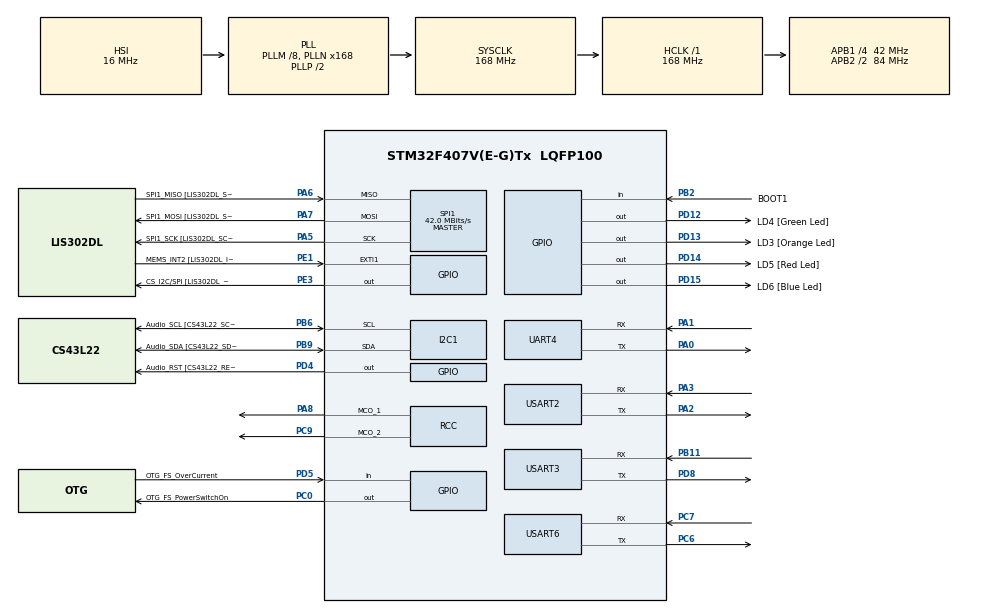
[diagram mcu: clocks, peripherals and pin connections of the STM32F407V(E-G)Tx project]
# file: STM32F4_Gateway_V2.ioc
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Dma.Request0=USART2_RX
Dma.USART2_RX.0.Channel=DMA_CHANNEL_4
Dma.USART2_RX.0.Direction=DMA_PERIPH_TO_MEMORY
Dma.USART2_RX.0.FIFOMode=DMA_FIFOMODE_ENABLE
Dma.USART2_RX.0.FIFOThreshold=DMA_FIFO_THRESHOLD_FULL
Dma.USART2_RX.0.Instance=DMA1_Stream5
Dma.USART2_RX.0.MemBurst=DMA_MBURST_SINGLE
Dma.USART2_RX.0.MemDataAlignment=DMA_MDATAALIGN_BYTE
Dma.USART2_RX.0.MemInc=DMA_MINC_ENABLE
Dma.USART2_RX.0.Mode=DMA_NORMAL
Dma.USART2_RX.0.PeriphBurst=DMA_PBURST_SINGLE
Dma.USART2_RX.0.PeriphDataAlignment=DMA_PDATAALIGN_BYTE
Dma.USART2_RX.0.PeriphInc=DMA_PINC_DISABLE
Dma.USART2_RX.0.Priority=DMA_PRIORITY_MEDIUM
FREERTOS.BinarySemaphores01=myBinarySem01;myBinarySem02
FREERTOS.Mutexes01=myMutex01;myMutex02
FREERTOS.Queues01=myQueue01,16,uint16_t,NULL;myQueue02,16,uint16_t,NULL
FREERTOS.Tasks01=defaultTask,0,512,StartDefaultTask,Default;myTask02,0,512,StartTask02,Default;myTask03,0,512,StartTask03,Default;myTask04,0,512,StartTask04,Default
Mcu.Family=STM32F4
Mcu.Name=STM32F407V(E-G)Tx
Mcu.Package=LQFP100
NVIC.DMA1_Stream5_IRQn=true\:5\:0\:false\:false\:true
NVIC.I2C1_ER_IRQn=true\:5\:0\:false\:false\:true
NVIC.I2C1_EV_IRQn=true\:5\:0\:false\:false\:true
NVIC.PriorityGroup=NVIC_PRIORITYGROUP_4
NVIC.RCC_IRQn=true\:5\:0\:false\:false\:true
NVIC.SPI1_IRQn=true\:5\:0\:false\:false\:true
NVIC.UART4_IRQn=true\:10\:0\:true\:false\:true
NVIC.USART2_IRQn=true\:10\:0\:true\:false\:true
NVIC.USART3_IRQn=true\:10\:0\:true\:false\:true
NVIC.USART6_IRQn=true\:10\:0\:true\:false\:true
PA0-WKUP.Mode=Asynchronous
PA0-WKUP.Signal=UART4_TX
PA1.Mode=Asynchronous
PA1.Signal=UART4_RX
PA10.Signal=USART1_RX
PA11.GPIO_Label=OTG_FS_DM
PA11.GPIO_Mode=GPIO_MODE_AF_PP
PA11.GPIO_PuPd=GPIO_NOPULL
PA11.GPIO_Speed=GPIO_SPEED_FREQ_LOW
PA11.Signal=USB_OTG_FS_DM
PA12.GPIO_Label=OTG_FS_DP
PA12.GPIO_Mode=GPIO_MODE_AF_PP
PA12.GPIO_PuPd=GPIO_NOPULL
PA12.GPIO_Speed=GPIO_SPEED_FREQ_LOW
PA12.Signal=USB_OTG_FS_DP
PA13.GPIO_Label=SWDIO
PA13.Mode=Serial-Wire
PA13.Signal=SYS_JTMS-SWDIO
PA14.GPIO_Label=SWCLK
PA14.Mode=Serial-Wire
PA14.Signal=SYS_JTCK-SWCLK
PA2.Mode=Asynchronous
PA2.Signal=USART2_TX
PA3.Mode=Asynchronous
PA3.Signal=USART2_RX
PA4.GPIO_Label=I2S3_WS [CS43L22_LRCK]
PA4.GPIO_Mode=GPIO_MODE_AF_PP
PA4.GPIO_PuPd=GPIO_NOPULL
PA4.GPIO_Speed=GPIO_SPEED_FREQ_LOW
PA4.Signal=I2S3_WS
PA5.GPIO_Label=SPI1_SCK [LIS302DL_SCL/SPC]
PA5.GPIO_Mode=GPIO_MODE_AF_PP
PA5.GPIO_PuPd=GPIO_NOPULL
PA5.GPIO_Speed=GPIO_SPEED_FREQ_LOW
PA5.Mode=Full_Duplex_Master
PA5.Signal=SPI1_SCK
PA6.GPIO_Label=SPI1_MISO [LIS302DL_SDO]
PA6.GPIO_Mode=GPIO_MODE_AF_PP
PA6.GPIO_PuPd=GPIO_NOPULL
PA6.GPIO_Speed=GPIO_SPEED_FREQ_LOW
PA6.Mode=Full_Duplex_Master
PA6.Signal=SPI1_MISO
PA7.GPIO_Label=SPI1_MOSI [LIS302DL_SDA/SDI/SDO]
PA7.GPIO_Mode=GPIO_MODE_AF_PP
PA7.GPIO_PuPd=GPIO_NOPULL
PA7.GPIO_Speed=GPIO_SPEED_FREQ_LOW
PA7.Mode=Full_Duplex_Master
PA7.Signal=SPI1_MOSI
PA8.Mode=Clock-out-1
PA8.Signal=RCC_MCO_1
PA9.Signal=USART1_TX
PB10.GPIO_Label=CLK_IN [MP45DT02_CLK]
PB10.GPIO_Mode=GPIO_MODE_AF_PP
PB10.GPIO_PuPd=GPIO_NOPULL
PB10.GPIO_Speed=GPIO_SPEED_FREQ_LOW
PB10.Signal=I2S2_CK
PB11.Mode=Asynchronous
PB11.Signal=USART3_RX
PB2.GPIO_Label=BOOT1
PB2.GPIO_Mode=GPIO_MODE_INPUT
PB2.GPIO_PuPd=GPIO_NOPULL
PB2.Signal=GPIO_Input
PB3.GPIO_Label=SWO
PB3.Signal=SYS_JTDO-SWO
PB6.GPIO_Label=Audio_SCL [CS43L22_SCL]
PB6.GPIO_Mode=GPIO_MODE_AF_OD
PB6.GPIO_PuPd=GPIO_NOPULL
PB6.GPIO_Speed=GPIO_SPEED_FREQ_LOW
PB6.Mode=I2C
PB6.Signal=I2C1_SCL
PB9.GPIO_Label=Audio_SDA [CS43L22_SDA]
PB9.GPIO_Mode=GPIO_MODE_AF_OD
PB9.GPIO_PuPd=GPIO_NOPULL
PB9.GPIO_Speed=GPIO_SPEED_FREQ_LOW
PB9.Mode=I2C
PB9.Signal=I2C1_SDA
PC0.GPIO_Label=OTG_FS_PowerSwitchOn
PC0.GPIO_PuPd=GPIO_NOPULL
PC0.GPIO_Speed=GPIO_SPEED_FREQ_LOW
PC0.Signal=GPIO_Output
PC10.GPIO_Label=I2S3_SCK [CS43L22_SCLK]
PC10.GPIO_Mode=GPIO_MODE_AF_PP
PC10.GPIO_PuPd=GPIO_NOPULL
PC10.GPIO_Speed=GPIO_SPEED_FREQ_LOW
PC10.Signal=I2S3_CK
PC12.GPIO_Label=I2S3_SD [CS43L22_SDIN]
PC12.GPIO_Mode=GPIO_MODE_AF_PP
PC12.GPIO_PuPd=GPIO_NOPULL
PC12.GPIO_Speed=GPIO_SPEED_FREQ_LOW
PC12.Signal=I2S3_SD
PC14-OSC32_IN.GPIO_Label=PC14-OSC32_IN
PC14-OSC32_IN.Mode=LSE-External-Oscillator
PC14-OSC32_IN.Signal=RCC_OSC32_IN
PC15-OSC32_OUT.GPIO_Label=PC15-OSC32_OUT
PC15-OSC32_OUT.Mode=LSE-External-Oscillator
PC15-OSC32_OUT.Signal=RCC_OSC32_OUT
PC3.GPIO_Label=PDM_OUT [MP45DT02_DOUT]
PC3.GPIO_Mode=GPIO_MODE_AF_PP
PC3.GPIO_PuPd=GPIO_NOPULL
PC3.GPIO_Speed=GPIO_SPEED_FREQ_LOW
PC3.Signal=I2S2_SD
PC6.Mode=Asynchronous
PC6.Signal=USART6_TX
PC7.Mode=Asynchronous
PC7.Signal=USART6_RX
PC9.Mode=Clock-out-2
PC9.Signal=RCC_MCO_2
PD12.GPIO_Label=LD4 [Green Led]
PD12.GPIO_PuPd=GPIO_NOPULL
PD12.GPIO_Speed=GPIO_SPEED_FREQ_LOW
PD12.Signal=GPIO_Output
PD13.GPIO_Label=LD3 [Orange Led]
PD13.GPIO_PuPd=GPIO_NOPULL
PD13.GPIO_Speed=GPIO_SPEED_FREQ_LOW
PD13.Signal=GPIO_Output
PD14.GPIO_Label=LD5 [Red Led]
PD14.GPIO_PuPd=GPIO_NOPULL
PD14.GPIO_Speed=GPIO_SPEED_FREQ_LOW
PD14.Signal=GPIO_Output
PD15.GPIO_Label=LD6 [Blue Led]
PD15.GPIO_PuPd=GPIO_NOPULL
PD15.GPIO_Speed=GPIO_SPEED_FREQ_LOW
PD15.Signal=GPIO_Output
PD4.GPIO_Label=Audio_RST [CS43L22_RESET]
PD4.GPIO_PuPd=GPIO_NOPULL
PD4.GPIO_Speed=GPIO_SPEED_FREQ_LOW
PD4.Signal=GPIO_Output
PD5.GPIO_Label=OTG_FS_OverCurrent
PD5.GPIO_Mode=GPIO_MODE_INPUT
PD5.GPIO_PuPd=GPIO_NOPULL
PD5.Signal=GPIO_Input
PD8.Mode=Asynchronous
PD8.Signal=USART3_TX
PE1.GPIO_Label=MEMS_INT2 [LIS302DL_INT2]
PE1.GPIO_ModeDefaultEXTI=GPIO_MODE_EVT_RISING
PE1.GPIO_PuPd=GPIO_NOPULL
PE1.Signal=GPXTI1
PE3.GPIO_Label=CS_I2C/SPI [LIS302DL_CS_I2C/SPI]
PE3.GPIO_PuPd=GPIO_NOPULL
PE3.GPIO_Speed=GPIO_SPEED_FREQ_LOW
PE3.Signal=GPIO_Output
PH0-OSC_IN.GPIO_Label=PH0-OSC_IN
PH0-OSC_IN.Mode=HSE-External-Oscillator
PH0-OSC_IN.Signal=RCC_OSC_IN
PH1-OSC_OUT.GPIO_Label=PH1-OSC_OUT
PH1-OSC_OUT.Mode=HSE-External-Oscillator
PH1-OSC_OUT.Signal=RCC_OSC_OUT
ProjectManager.HeapSize=0x200
ProjectManager.StackSize=0x400
ProjectManager.TargetToolchain=MDK-ARM V5
RCC.48MHZClocksFreq_Value=48000000
RCC.AHBFreq_Value=168000000
RCC.APB1CLKDivider=RCC_HCLK_DIV4
RCC.APB1Freq_Value=42000000
RCC.APB1TimFreq_Value=84000000
RCC.APB2CLKDivider=RCC_HCLK_DIV2
RCC.APB2Freq_Value=84000000
RCC.APB2TimFreq_Value=168000000
RCC.CortexFreq_Value=168000000
RCC.HCLKFreq_Value=168000000
RCC.HSE_VALUE=8000000
RCC.HSI_VALUE=16000000
RCC.PLLM=8
RCC.PLLN=168
RCC.PLLQ=7
RCC.SYSCLKFreq_VALUE=168000000
RCC.SYSCLKSource=RCC_SYSCLKSOURCE_PLLCLK
RCC.VCOOutputFreq_Value=336000000
SPI1.CalculateBaudRate=42.0 MBits/s
SPI1.Mode=SPI_MODE_MASTER
VP_FATFS_VS_Generic.Mode=User_defined
VP_FREERTOS_VS_ENABLE.Mode=Enabled
board=STM32F4DISCOVERY

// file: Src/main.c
/**
  ******************************************************************************
  * File Name          : main.c
  * Description        : Main program body
  ******************************************************************************
  *
  * COPYRIGHT(c) 2016 STMicroelectronics
  *
  * Redistribution and use in source and binary forms, with or without modification,
  * are permitted provided that the following conditions are met:
  *   1. Redistributions of source code must retain the above copyright notice,
  *      this list of conditions and the following disclaimer.
  *   2. Redistributions in binary form must reproduce the above copyright notice,
  *      this list of conditions and the following disclaimer in the documentation
  *      and/or other materials provided with the distribution.
  *   3. Neither the name of STMicroelectronics nor the names of its contributors
  *      may be used to endorse or promote products derived from this software
  *      without specific prior written permission.
  *
  * THIS SOFTWARE IS PROVIDED BY THE COPYRIGHT HOLDERS AND CONTRIBUTORS "AS IS"
  * AND ANY EXPRESS OR IMPLIED WARRANTIES, INCLUDING, BUT NOT LIMITED TO, THE
  * IMPLIED WARRANTIES OF MERCHANTABILITY AND FITNESS FOR A PARTICULAR PURPOSE ARE
  * DISCLAIMED. IN NO EVENT SHALL THE COPYRIGHT HOLDER OR CONTRIBUTORS BE LIABLE
  * FOR ANY DIRECT, INDIRECT, INCIDENTAL, SPECIAL, EXEMPLARY, OR CONSEQUENTIAL
  * DAMAGES (INCLUDING, BUT NOT LIMITED TO, PROCUREMENT OF SUBSTITUTE GOODS OR
  * SERVICES; LOSS OF USE, DATA, OR PROFITS; OR BUSINESS INTERRUPTION) HOWEVER
  * CAUSED AND ON ANY THEORY OF LIABILITY, WHETHER IN CONTRACT, STRICT LIABILITY,
  * OR TORT (INCLUDING NEGLIGENCE OR OTHERWISE) ARISING IN ANY WAY OUT OF THE USE
  * OF THIS SOFTWARE, EVEN IF ADVISED OF THE POSSIBILITY OF SUCH DAMAGE.
  *
  ******************************************************************************
  */
//#include "stm32f4xx_hal.h"
//#include "cmsis_os.h"
//#include "fatfs.h"

/* USER CODE BEGIN Includes */
#include "main.h"
//#include "fatfs.h"
#include "print_debug.h"
#include "gw_task.h"
#include "offline_task.h"
#include "eth_task.h"

extern void eth_task(void const * argument);
//extern void rf_task(void const * argument);
extern void gw_task(void const * argument);
extern void offline_task(void const * argument);

data_t data_rf;
data_t data_gw_xbee, data_bt, data_lan;
recv_uart_t recv_uart_2,recv_uart_3,recv_uart_4,recv_uart_6;
/* USER CODE END Includes */

I2C_HandleTypeDef hi2c1;

SPI_HandleTypeDef hspi1;

UART_HandleTypeDef huart4;
UART_HandleTypeDef huart2;
UART_HandleTypeDef huart3;
UART_HandleTypeDef huart6;
DMA_HandleTypeDef hdma_usart2_rx;

osThreadId defaultTaskHandle;
osThreadId eth_task_defHandle;	//ethernet task name define
osThreadId offline_task_defHandle; //offline task name define
osThreadId gw_task_defHandle;	//gateway task name define
osMessageQId myQueue01Handle;
osMessageQId myQueue02Handle;
osMutexId myMutex01Handle;
osMutexId myMutex02Handle;
osSemaphoreId myBinarySem01Handle;
osSemaphoreId myBinarySem02Handle;

/* USER CODE BEGIN PV */
/* Private variables ---------------------------------------------------------*/

uint8_t name[20];
uint8_t name2[20];
uint8_t buff[10];
/* USER CODE END PV */

void SystemClock_Config(void);
static void MX_GPIO_Init(void);
static void MX_DMA_Init(void);
static void MX_USART2_UART_Init(void);
static void MX_USART3_UART_Init(void);
static void MX_SPI1_Init(void);
static void MX_I2C1_Init(void);
static void MX_USART6_UART_Init(void);
static void MX_UART4_Init(void);
void StartDefaultTask(void const * argument);
void StartTask02(void const * argument);
void StartTask03(void const * argument);
void StartTask04(void const * argument);

/* USER CODE BEGIN PFP */
/* Private function prototypes -----------------------------------------------*/
void test_print_uart();
/* USER CODE END PFP */

int main(void)
{

  /* MCU Configuration----------------------------------------------------------*/

  /* Reset of all peripherals, Initializes the Flash interface and the Systick. */
  HAL_Init();

  /* Configure the system clock */
  SystemClock_Config();

  /* Initialize all configured peripherals */
  MX_GPIO_Init();
  MX_DMA_Init();
  MX_USART2_UART_Init();
  MX_USART3_UART_Init();
  MX_SPI1_Init();
  MX_I2C1_Init();
  MX_USART6_UART_Init();
  MX_UART4_Init();

  /* USER CODE BEGIN 2 */
	__HAL_UART_ENABLE_IT(&huart2,UART_IT_RXNE);
	__HAL_UART_ENABLE_IT(&huart3,UART_IT_RXNE);
	__HAL_UART_ENABLE_IT(&huart4,UART_IT_RXNE);
	__HAL_UART_ENABLE_IT(&huart6,UART_IT_RXNE);
	memset(&recv_uart_2,0,sizeof(recv_uart_t));
	memset(&recv_uart_3,0,sizeof(recv_uart_t));
	memset(&recv_uart_4,0,sizeof(recv_uart_t));
	memset(&recv_uart_6,0,sizeof(recv_uart_t));
	print_init(&huart2);
	test_print_uart();
  /* USER CODE END 2 */

  /* Create the mutex(es) */
  /* definition and creation of myMutex01 */
  osMutexDef(myMutex01);
  myMutex01Handle = osMutexCreate(osMutex(myMutex01));

  /* definition and creation of myMutex02 */
  osMutexDef(myMutex02);
  myMutex02Handle = osMutexCreate(osMutex(myMutex02));

  /* Create the semaphores(s) */
  /* definition and creation of myBinarySem01 */
  osSemaphoreDef(myBinarySem01);
  myBinarySem01Handle = osSemaphoreCreate(osSemaphore(myBinarySem01), 1);

  /* definition and creation of myBinarySem02 */
  osSemaphoreDef(myBinarySem02);
  myBinarySem02Handle = osSemaphoreCreate(osSemaphore(myBinarySem02), 1);

  /* Create the thread(s) */
  /* definition and creation of defaultTask */
  osThreadDef(defaultTask, StartDefaultTask, osPriorityNormal, 0, 512);
  defaultTaskHandle = osThreadCreate(osThread(defaultTask), NULL);

  /* definition and creation of myTask02 */
  osThreadDef(eth_task_def, eth_task, osPriorityNormal, 0, 512);
  eth_task_defHandle = osThreadCreate(osThread(eth_task_def), NULL);

  /* definition and creation of myTask03 */
  osThreadDef(offline_task_def, offline_task, osPriorityNormal, 0, 512);
  offline_task_defHandle = osThreadCreate(osThread(offline_task_def), NULL);

  /* definition and creation of myTask04 */
  osThreadDef(gw_task_def, gw_task, osPriorityNormal, 0, 512);
  gw_task_defHandle = osThreadCreate(osThread(gw_task_def), NULL);

  /* Create the queue(s) */
  /* definition and creation of myQueue01 */
  osMessageQDef(myQueue01, 16, uint16_t);
  myQueue01Handle = osMessageCreate(osMessageQ(myQueue01), NULL);

  /* definition and creation of myQueue02 */
  osMessageQDef(myQueue02, 16, uint16_t);
  myQueue02Handle = osMessageCreate(osMessageQ(myQueue02), NULL);

  /* Start scheduler */
  osKernelStart();

  /* We should never get here as control is now taken by the scheduler */

  /* Infinite loop */
  while (1)
  {

  }

}

/** System Clock Configuration
*/
void SystemClock_Config(void)
{

  RCC_OscInitTypeDef RCC_OscInitStruct;
  RCC_ClkInitTypeDef RCC_ClkInitStruct;

  __HAL_RCC_PWR_CLK_ENABLE();

  __HAL_PWR_VOLTAGESCALING_CONFIG(PWR_REGULATOR_VOLTAGE_SCALE1);

  RCC_OscInitStruct.OscillatorType = RCC_OSCILLATORTYPE_HSI;
  RCC_OscInitStruct.HSIState = RCC_HSI_ON;
  RCC_OscInitStruct.HSICalibrationValue = 16;
  RCC_OscInitStruct.PLL.PLLState = RCC_PLL_ON;
  RCC_OscInitStruct.PLL.PLLSource = RCC_PLLSOURCE_HSI;
  RCC_OscInitStruct.PLL.PLLM = 8;
  RCC_OscInitStruct.PLL.PLLN = 168;
  RCC_OscInitStruct.PLL.PLLP = RCC_PLLP_DIV2;
  RCC_OscInitStruct.PLL.PLLQ = 7;
  HAL_RCC_OscConfig(&RCC_OscInitStruct);

  RCC_ClkInitStruct.ClockType = RCC_CLOCKTYPE_HCLK|RCC_CLOCKTYPE_SYSCLK
                              |RCC_CLOCKTYPE_PCLK1|RCC_CLOCKTYPE_PCLK2;
  RCC_ClkInitStruct.SYSCLKSource = RCC_SYSCLKSOURCE_PLLCLK;
  RCC_ClkInitStruct.AHBCLKDivider = RCC_SYSCLK_DIV1;
  RCC_ClkInitStruct.APB1CLKDivider = RCC_HCLK_DIV4;
  RCC_ClkInitStruct.APB2CLKDivider = RCC_HCLK_DIV2;
  HAL_RCC_ClockConfig(&RCC_ClkInitStruct, FLASH_LATENCY_5);

  HAL_RCC_MCOConfig(RCC_MCO1, RCC_MCO1SOURCE_HSI, RCC_MCODIV_1);

  HAL_RCC_MCOConfig(RCC_MCO2, RCC_MCO2SOURCE_SYSCLK, RCC_MCODIV_1);

  HAL_SYSTICK_Config(HAL_RCC_GetHCLKFreq()/1000);

  HAL_SYSTICK_CLKSourceConfig(SYSTICK_CLKSOURCE_HCLK);

  /* SysTick_IRQn interrupt configuration */
  HAL_NVIC_SetPriority(SysTick_IRQn, 15, 0);
}

/* I2C1 init function */
void MX_I2C1_Init(void)
{

  hi2c1.Instance = I2C1;
  hi2c1.Init.ClockSpeed = 100000;
  hi2c1.Init.DutyCycle = I2C_DUTYCYCLE_2;
  hi2c1.Init.OwnAddress1 = 0;
  hi2c1.Init.AddressingMode = I2C_ADDRESSINGMODE_7BIT;
  hi2c1.Init.DualAddressMode = I2C_DUALADDRESS_DISABLE;
  hi2c1.Init.OwnAddress2 = 0;
  hi2c1.Init.GeneralCallMode = I2C_GENERALCALL_DISABLE;
  hi2c1.Init.NoStretchMode = I2C_NOSTRETCH_DISABLE;
  HAL_I2C_Init(&hi2c1);

}

/* SPI1 init function */
void MX_SPI1_Init(void)
{

  hspi1.Instance = SPI1;
  hspi1.Init.Mode = SPI_MODE_MASTER;
  hspi1.Init.Direction = SPI_DIRECTION_2LINES;
  hspi1.Init.DataSize = SPI_DATASIZE_8BIT;
  hspi1.Init.CLKPolarity = SPI_POLARITY_LOW;
  hspi1.Init.CLKPhase = SPI_PHASE_1EDGE;
  hspi1.Init.NSS = SPI_NSS_SOFT;
  hspi1.Init.BaudRatePrescaler = SPI_BAUDRATEPRESCALER_2;
  hspi1.Init.FirstBit = SPI_FIRSTBIT_MSB;
  hspi1.Init.TIMode = SPI_TIMODE_DISABLE;
  hspi1.Init.CRCCalculation = SPI_CRCCALCULATION_DISABLE;
  hspi1.Init.CRCPolynomial = 10;
  HAL_SPI_Init(&hspi1);

}

/* UART4 init function */
void MX_UART4_Init(void)
{

  huart4.Instance = UART4;
  huart4.Init.BaudRate = 115200;
  huart4.Init.WordLength = UART_WORDLENGTH_8B;
  huart4.Init.StopBits = UART_STOPBITS_1;
  huart4.Init.Parity = UART_PARITY_NONE;
  huart4.Init.Mode = UART_MODE_TX_RX;
  huart4.Init.HwFlowCtl = UART_HWCONTROL_NONE;
  huart4.Init.OverSampling = UART_OVERSAMPLING_16;
  HAL_UART_Init(&huart4);

}

/* USART2 init function */
void MX_USART2_UART_Init(void)
{

  huart2.Instance = USART2;
  huart2.Init.BaudRate = 115200;
  huart2.Init.WordLength = UART_WORDLENGTH_8B;
  huart2.Init.StopBits = UART_STOPBITS_1;
  huart2.Init.Parity = UART_PARITY_NONE;
  huart2.Init.Mode = UART_MODE_TX_RX;
  huart2.Init.HwFlowCtl = UART_HWCONTROL_NONE;
  huart2.Init.OverSampling = UART_OVERSAMPLING_16;
  HAL_UART_Init(&huart2);

}

/* USART3 init function */
void MX_USART3_UART_Init(void)
{

  huart3.Instance = USART3;
  huart3.Init.BaudRate = 115200;
  huart3.Init.WordLength = UART_WORDLENGTH_8B;
  huart3.Init.StopBits = UART_STOPBITS_1;
  huart3.Init.Parity = UART_PARITY_NONE;
  huart3.Init.Mode = UART_MODE_TX_RX;
  huart3.Init.HwFlowCtl = UART_HWCONTROL_NONE;
  huart3.Init.OverSampling = UART_OVERSAMPLING_16;
  HAL_UART_Init(&huart3);

}

/* USART6 init function */
void MX_USART6_UART_Init(void)
{

  huart6.Instance = USART6;
  huart6.Init.BaudRate = 115200;
	//huart6.Init.BaudRate = 9600;
  huart6.Init.WordLength = UART_WORDLENGTH_8B;
  huart6.Init.StopBits = UART_STOPBITS_1;
  huart6.Init.Parity = UART_PARITY_NONE;
  huart6.Init.Mode = UART_MODE_TX_RX;
  huart6.Init.HwFlowCtl = UART_HWCONTROL_NONE;
  huart6.Init.OverSampling = UART_OVERSAMPLING_16;
  HAL_UART_Init(&huart6);

}

void MX_DMA_Init(void)
{
  /* DMA controller clock enable */
  __HAL_RCC_DMA1_CLK_ENABLE();

  /* DMA interrupt init */
  /* DMA1_Stream5_IRQn interrupt configuration */
  HAL_NVIC_SetPriority(DMA1_Stream5_IRQn, 5, 0);
  HAL_NVIC_EnableIRQ(DMA1_Stream5_IRQn);

}

/** Configure pins as
        * Analog
        * Input
        * Output
        * EVENT_OUT
        * EXTI
     PC3   ------> I2S2_SD
     PA4   ------> I2S3_WS
     PB10   ------> I2S2_CK
     PC9   ------> RCC_MCO_2
     PA8   ------> RCC_MCO_1
     PA9   ------> USART1_TX
     PA10   ------> USART1_RX
     PA11   ------> USB_OTG_FS_DM
     PA12   ------> USB_OTG_FS_DP
     PC10   ------> I2S3_CK
     PC12   ------> I2S3_SD
*/
void MX_GPIO_Init(void)
{

  GPIO_InitTypeDef GPIO_InitStruct;

  /* GPIO Ports Clock Enable */
  __HAL_RCC_GPIOE_CLK_ENABLE();
  __HAL_RCC_GPIOC_CLK_ENABLE();
  __HAL_RCC_GPIOH_CLK_ENABLE();
  __HAL_RCC_GPIOA_CLK_ENABLE();
  __HAL_RCC_GPIOB_CLK_ENABLE();
  __HAL_RCC_GPIOD_CLK_ENABLE();

  /*Configure GPIO pin Output Level */
  HAL_GPIO_WritePin(CS_I2C_SPI_GPIO_Port, CS_I2C_SPI_Pin, GPIO_PIN_RESET);

  /*Configure GPIO pin Output Level */
  HAL_GPIO_WritePin(OTG_FS_PowerSwitchOn_GPIO_Port, OTG_FS_PowerSwitchOn_Pin, GPIO_PIN_RESET);

  /*Configure GPIO pin Output Level */
  HAL_GPIO_WritePin(GPIOD, LD4_Pin|LD3_Pin|LD5_Pin|LD6_Pin
                          |Audio_RST_Pin, GPIO_PIN_RESET);

  /*Configure GPIO pin : CS_I2C_SPI_Pin */
  GPIO_InitStruct.Pin = CS_I2C_SPI_Pin;
  GPIO_InitStruct.Mode = GPIO_MODE_OUTPUT_PP;
  GPIO_InitStruct.Pull = GPIO_NOPULL;
  GPIO_InitStruct.Speed = GPIO_SPEED_FREQ_LOW;
  HAL_GPIO_Init(CS_I2C_SPI_GPIO_Port, &GPIO_InitStruct);

  /*Configure GPIO pin : OTG_FS_PowerSwitchOn_Pin */
  GPIO_InitStruct.Pin = OTG_FS_PowerSwitchOn_Pin;
  GPIO_InitStruct.Mode = GPIO_MODE_OUTPUT_PP;
  GPIO_InitStruct.Pull = GPIO_NOPULL;
  GPIO_InitStruct.Speed = GPIO_SPEED_FREQ_LOW;
  HAL_GPIO_Init(OTG_FS_PowerSwitchOn_GPIO_Port, &GPIO_InitStruct);

  /*Configure GPIO pin : PDM_OUT_Pin */
  GPIO_InitStruct.Pin = PDM_OUT_Pin;
  GPIO_InitStruct.Mode = GPIO_MODE_AF_PP;
  GPIO_InitStruct.Pull = GPIO_NOPULL;
  GPIO_InitStruct.Speed = GPIO_SPEED_FREQ_LOW;
  GPIO_InitStruct.Alternate = GPIO_AF5_SPI2;
  HAL_GPIO_Init(PDM_OUT_GPIO_Port, &GPIO_InitStruct);

  /*Configure GPIO pin : PA4 */
  GPIO_InitStruct.Pin = GPIO_PIN_4;
  GPIO_InitStruct.Mode = GPIO_MODE_AF_PP;
  GPIO_InitStruct.Pull = GPIO_NOPULL;
  GPIO_InitStruct.Speed = GPIO_SPEED_FREQ_LOW;
  GPIO_InitStruct.Alternate = GPIO_AF6_SPI3;
  HAL_GPIO_Init(GPIOA, &GPIO_InitStruct);

  /*Configure GPIO pin : BOOT1_Pin */
  GPIO_InitStruct.Pin = BOOT1_Pin;
  GPIO_InitStruct.Mode = GPIO_MODE_INPUT;
  GPIO_InitStruct.Pull = GPIO_NOPULL;
  HAL_GPIO_Init(BOOT1_GPIO_Port, &GPIO_InitStruct);

  /*Configure GPIO pin : CLK_IN_Pin */
  GPIO_InitStruct.Pin = CLK_IN_Pin;
  GPIO_InitStruct.Mode = GPIO_MODE_AF_PP;
  GPIO_InitStruct.Pull = GPIO_NOPULL;
  GPIO_InitStruct.Speed = GPIO_SPEED_FREQ_LOW;
  GPIO_InitStruct.Alternate = GPIO_AF5_SPI2;
  HAL_GPIO_Init(CLK_IN_GPIO_Port, &GPIO_InitStruct);

  /*Configure GPIO pins : LD4_Pin LD3_Pin LD5_Pin LD6_Pin
                           Audio_RST_Pin */
  GPIO_InitStruct.Pin = LD4_Pin|LD3_Pin|LD5_Pin|LD6_Pin
                          |Audio_RST_Pin;
  GPIO_InitStruct.Mode = GPIO_MODE_OUTPUT_PP;
  GPIO_InitStruct.Pull = GPIO_NOPULL;
  GPIO_InitStruct.Speed = GPIO_SPEED_FREQ_LOW;
  HAL_GPIO_Init(GPIOD, &GPIO_InitStruct);

  /*Configure GPIO pin : PC9 */
  GPIO_InitStruct.Pin = GPIO_PIN_9;
  GPIO_InitStruct.Mode = GPIO_MODE_AF_PP;
  GPIO_InitStruct.Pull = GPIO_NOPULL;
  GPIO_InitStruct.Speed = GPIO_SPEED_FREQ_LOW;
  GPIO_InitStruct.Alternate = GPIO_AF0_MCO;
  HAL_GPIO_Init(GPIOC, &GPIO_InitStruct);

  /*Configure GPIO pin : PA8 */
  GPIO_InitStruct.Pin = GPIO_PIN_8;
  GPIO_InitStruct.Mode = GPIO_MODE_AF_PP;
  GPIO_InitStruct.Pull = GPIO_NOPULL;
  GPIO_InitStruct.Speed = GPIO_SPEED_FREQ_LOW;
  GPIO_InitStruct.Alternate = GPIO_AF0_MCO;
  HAL_GPIO_Init(GPIOA, &GPIO_InitStruct);

  /*Configure GPIO pins : PA9 PA10 */
  GPIO_InitStruct.Pin = GPIO_PIN_9|GPIO_PIN_10;
  GPIO_InitStruct.Mode = GPIO_MODE_AF_PP;
  GPIO_InitStruct.Pull = GPIO_NOPULL;
  GPIO_InitStruct.Speed = GPIO_SPEED_FREQ_VERY_HIGH;
  GPIO_InitStruct.Alternate = GPIO_AF7_USART1;
  HAL_GPIO_Init(GPIOA, &GPIO_InitStruct);

  /*Configure GPIO pins : OTG_FS_DM_Pin OTG_FS_DP_Pin */
  GPIO_InitStruct.Pin = OTG_FS_DM_Pin|OTG_FS_DP_Pin;
  GPIO_InitStruct.Mode = GPIO_MODE_AF_PP;
  GPIO_InitStruct.Pull = GPIO_NOPULL;
  GPIO_InitStruct.Speed = GPIO_SPEED_FREQ_LOW;
  GPIO_InitStruct.Alternate = GPIO_AF10_OTG_FS;
  HAL_GPIO_Init(GPIOA, &GPIO_InitStruct);

  /*Configure GPIO pins : I2S3_SCK_Pin PC12 */
  GPIO_InitStruct.Pin = I2S3_SCK_Pin|GPIO_PIN_12;
  GPIO_InitStruct.Mode = GPIO_MODE_AF_PP;
  GPIO_InitStruct.Pull = GPIO_NOPULL;
  GPIO_InitStruct.Speed = GPIO_SPEED_FREQ_LOW;
  GPIO_InitStruct.Alternate = GPIO_AF6_SPI3;
  HAL_GPIO_Init(GPIOC, &GPIO_InitStruct);

  /*Configure GPIO pin : OTG_FS_OverCurrent_Pin */
  GPIO_InitStruct.Pin = OTG_FS_OverCurrent_Pin;
  GPIO_InitStruct.Mode = GPIO_MODE_INPUT;
  GPIO_InitStruct.Pull = GPIO_NOPULL;
  HAL_GPIO_Init(OTG_FS_OverCurrent_GPIO_Port, &GPIO_InitStruct);

  /*Configure GPIO pin : MEMS_INT2_Pin */
  GPIO_InitStruct.Pin = MEMS_INT2_Pin;
  GPIO_InitStruct.Mode = GPIO_MODE_EVT_RISING;
  GPIO_InitStruct.Pull = GPIO_NOPULL;
  HAL_GPIO_Init(MEMS_INT2_GPIO_Port, &GPIO_InitStruct);

}

/* USER CODE BEGIN 4 */
void test_print_uart(){
	//HAL_UART_Transmit(&huart1,(uint8_t*)"init-uart1\n",11,100); //use U_USB_OTG_FS
	HAL_UART_Transmit(&huart2,(uint8_t*)"init-uart2\n",11,100);
	HAL_UART_Transmit(&huart3,(uint8_t*)"init-uart3\n",11,100);
//	HAL_UART_Transmit(&huart4,(uint8_t*)"init-uart4\n",11,100);
//	HAL_UART_Transmit(&huart6,(uint8_t*)"init-uart6\n",11,100);
}
/* USER CODE END 4 */

/* StartDefaultTask function */
void StartDefaultTask(void const * argument)
{
  /* init code for FATFS */
  //MX_FATFS_Init();

  /* USER CODE BEGIN 5 */
  /* Infinite loop */
	osStatus os_state;
	memset(name,0,sizeof(name));
	memset(&data_rf,0,sizeof(data_rf));
  for(;;)
  {
		//printf("Hello.\n");
		//memcpy(name,(const void *)"Hello55",7);
		//HAL_UART_Transmit(&huart2,name,10,100);
		//print_debug_semph(0,"Test_print_1_(%d)\n",111);
		//uart2_update(&huart2);
		//data_rf.length = uart2_read(data_rf.value,0);

		//print_debug_semph(0,"Test_print_1_(%d)\n",111);
//		if(data_rf.length > 0){
//			uart2_write(data_rf.value,data_rf.length);
//		}
		//print_debug_semph(0,"uart2-callback(%c)\n",ch);
		//print_payload(0,data_rf.value,data_rf.length);
		//HAL_GPIO_TogglePin(GPIOD, LD3_Pin);
		//print_payload(0,recv_uart_2.value,data_rf.length);
		if((os_state=osSemaphoreWait(myBinarySem01Handle,2000))==0){
			if(recv_uart_2.size>0){
				HAL_UART_Transmit(&huart2,&recv_uart_2.value[recv_uart_2.idx_r],recv_uart_2.size,10);
				recv_uart_2.idx_r += recv_uart_2.size;
				recv_uart_2.size -= recv_uart_2.size;
				if(recv_uart_2.idx_r>512){
					HAL_UART_Transmit(&huart2,(uint8_t*)"Uart2 Read Over flow\n",16,100);
					recv_uart_2.idx_w = 0;
					recv_uart_2.idx_r = 0;
					recv_uart_2.size = 0;
				}
			}
			osSemaphoreRelease(myBinarySem01Handle);
		}
    osDelay(100);
  }
  /* USER CODE END 5 */
}

/* StartTask02 function */
void StartTask02(void const * argument)
{
  /* USER CODE BEGIN StartTask02 */
	HAL_GPIO_TogglePin(GPIOD, LD3_Pin);
	memset(name,0,sizeof(name));
  /* Infinite loop */
  for(;;)
  {
		//memcpy(name,(const void *)"Hello121223345dfghjk",20);
//		HAL_UART_Transmit(&huart2,name,10,100);
		/*Configure GPIO pin Output Level */
		//print_debug(0,"Test_print_2_(%d)\n",222);
		HAL_GPIO_TogglePin(GPIOD, LD4_Pin);
		//print_payload(0,name,20);
		//memcpy(name2,(const char*)"UART2\n",6);
		HAL_GPIO_TogglePin(GPIOD, LD5_Pin);
		//HAL_UART_Transmit(&huart2,name2,6,100);
    osDelay(1000);
  }
  /* USER CODE END StartTask02 */
}

/* StartTask03 function */
void StartTask03(void const * argument)
{
  /* USER CODE BEGIN StartTask03 */
  /* Infinite loop */
  for(;;)
  {
		//print_debug(0,"Test_print_3_(%d)\n",333);
		//memcpy(name2,(const char*)"UART2-2\n",6);
		HAL_GPIO_TogglePin(GPIOD, LD5_Pin);
		//HAL_UART_Transmit(&huart2,name2,6,100);
    osDelay(1000);
  }
  /* USER CODE END StartTask03 */
}

/* StartTask04 function */
void StartTask04(void const * argument)
{
  for(;;)
  {
    osDelay(1);
  }
}

/**
uart2_callback (Debug Port)
**/
void uart2_callback(){

	if(HAL_UART_Receive_IT(&huart2,buff,1)==HAL_OK){
		if(recv_uart_2.size<512){
			recv_uart_2.value[recv_uart_2.idx_w++] = buff[0];
			recv_uart_2.size++;
			//HAL_UART_Transmit(&huart2,buff,1,100);
		}else{
			HAL_UART_Transmit(&huart2,(uint8_t*)"Uart2 Over flow\n",16,100);
			recv_uart_2.idx_w = 0;
			recv_uart_2.idx_r = 0;
			recv_uart_2.size = 0;
		}
	}
}

#ifdef USE_FULL_ASSERT

/**
   * @brief Reports the name of the source file and the source line number
   * where the assert_param error has occurred.
   * @param file: pointer to the source file name
   * @param line: assert_param error line source number
   * @retval None
   */
void assert_failed(uint8_t* file, uint32_t line)
{
  /* USER CODE BEGIN 6 */
  /* User can add his own implementation to report the file name and line number,
    ex: printf("Wrong parameters value: file %s on line %d\r\n", file, line) */
	print_debug(0,"Wrong parameters value: file %s on line %d\r\n", file, line);

  /* USER CODE END 6 */

}

#endif

/************************ (C) COPYRIGHT STMicroelectronics *****END OF FILE****/
